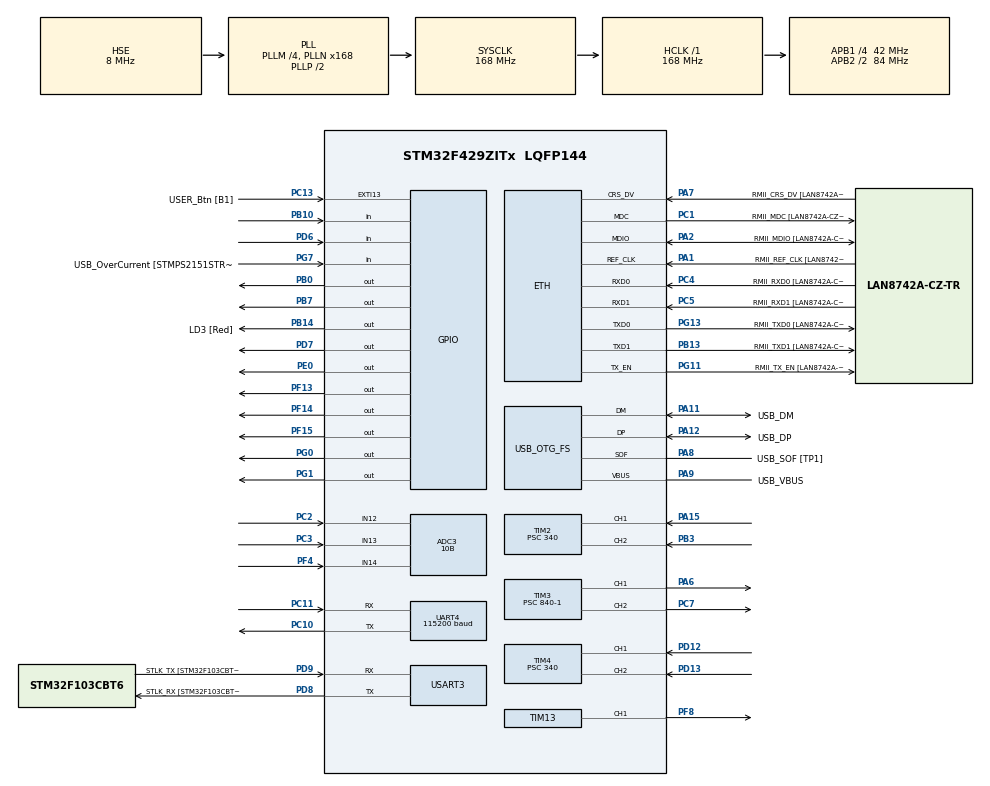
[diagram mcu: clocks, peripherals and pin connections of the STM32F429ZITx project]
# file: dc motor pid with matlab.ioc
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ADC3.Channel-3\#ChannelRegularConversion=ADC_CHANNEL_12
ADC3.Channel-4\#ChannelRegularConversion=ADC_CHANNEL_13
ADC3.Channel-5\#ChannelRegularConversion=ADC_CHANNEL_14
ADC3.ContinuousConvMode=DISABLE
ADC3.DMAContinuousRequests=ENABLE
ADC3.ExternalTrigConv=ADC_EXTERNALTRIGCONV_T8_TRGO
ADC3.NbrOfConversion=3
ADC3.NbrOfConversionFlag=1
ADC3.Rank-3\#ChannelRegularConversion=1
ADC3.Rank-4\#ChannelRegularConversion=2
ADC3.Rank-5\#ChannelRegularConversion=3
ADC3.Resolution=ADC_RESOLUTION_10B
ADC3.SamplingTime-3\#ChannelRegularConversion=ADC_SAMPLETIME_480CYCLES
ADC3.SamplingTime-4\#ChannelRegularConversion=ADC_SAMPLETIME_480CYCLES
ADC3.SamplingTime-5\#ChannelRegularConversion=ADC_SAMPLETIME_480CYCLES
ADC3.ScanConvMode=ENABLE
Dma.ADC3.1.Direction=DMA_PERIPH_TO_MEMORY
Dma.ADC3.1.FIFOMode=DMA_FIFOMODE_DISABLE
Dma.ADC3.1.Instance=DMA2_Stream1
Dma.ADC3.1.MemDataAlignment=DMA_MDATAALIGN_HALFWORD
Dma.ADC3.1.MemInc=DMA_MINC_ENABLE
Dma.ADC3.1.Mode=DMA_CIRCULAR
Dma.ADC3.1.PeriphDataAlignment=DMA_PDATAALIGN_HALFWORD
Dma.ADC3.1.PeriphInc=DMA_PINC_DISABLE
Dma.ADC3.1.Priority=DMA_PRIORITY_LOW
Dma.Request0=TIM4_UP
Dma.Request1=ADC3
Dma.TIM4_UP.0.Direction=DMA_PERIPH_TO_MEMORY
Dma.TIM4_UP.0.FIFOMode=DMA_FIFOMODE_DISABLE
Dma.TIM4_UP.0.Instance=DMA1_Stream6
Dma.TIM4_UP.0.MemDataAlignment=DMA_MDATAALIGN_HALFWORD
Dma.TIM4_UP.0.MemInc=DMA_MINC_ENABLE
Dma.TIM4_UP.0.Mode=DMA_NORMAL
Dma.TIM4_UP.0.PeriphDataAlignment=DMA_PDATAALIGN_HALFWORD
Dma.TIM4_UP.0.PeriphInc=DMA_PINC_DISABLE
Dma.TIM4_UP.0.Priority=DMA_PRIORITY_LOW
ETH.MediaInterface=HAL_ETH_RMII_MODE
ETH.PHY_Name=LAN8742A_PHY_ADDRESS
ETH.PHY_Value=0
ETH.PhyAddress=0
Mcu.Family=STM32F4
Mcu.Name=STM32F429ZITx
Mcu.Package=LQFP144
NVIC.ADC_IRQn=true\:0\:0\:false\:false\:true\:true\:true\:true
NVIC.DMA1_Stream6_IRQn=true\:0\:0\:false\:false\:true\:false\:true\:true
NVIC.DMA2_Stream1_IRQn=true\:0\:0\:false\:false\:true\:false\:true\:true
NVIC.PriorityGroup=NVIC_PRIORITYGROUP_4
NVIC.TIM3_IRQn=true\:0\:0\:false\:false\:true\:true\:true\:true
NVIC.TIM6_DAC_IRQn=true\:6\:0\:true\:false\:true\:true\:true\:true
NVIC.TIM7_IRQn=true\:0\:0\:false\:false\:true\:true\:true\:true
NVIC.TIM8_BRK_TIM12_IRQn=true\:0\:0\:false\:false\:true\:true\:true\:true
NVIC.TIM8_TRG_COM_TIM14_IRQn=true\:0\:0\:false\:false\:true\:true\:true\:true
NVIC.TIM8_UP_TIM13_IRQn=true\:0\:0\:false\:false\:true\:true\:true\:true
NVIC.UART4_IRQn=true\:0\:0\:false\:false\:true\:true\:true\:true
NVIC.USART3_IRQn=true\:0\:0\:false\:false\:true\:true\:true\:true
PA1.GPIO_Label=RMII_REF_CLK [LAN8742A-CZ-TR_REFCLK0]
PA1.Mode=RMII
PA1.Signal=ETH_REF_CLK
PA10.GPIO_Label=USB_ID
PA10.Signal=USB_OTG_FS_ID
PA11.GPIO_Label=USB_DM
PA11.Mode=Device_Only
PA11.Signal=USB_OTG_FS_DM
PA12.GPIO_Label=USB_DP
PA12.Mode=Device_Only
PA12.Signal=USB_OTG_FS_DP
PA13.GPIO_Label=TMS
PA13.Mode=Serial_Wire
PA13.Signal=SYS_JTMS-SWDIO
PA14.GPIO_Label=TCK
PA14.Mode=Serial_Wire
PA14.Signal=SYS_JTCK-SWCLK
PA15.Signal=S_TIM2_CH1_ETR
PA2.GPIO_Label=RMII_MDIO [LAN8742A-CZ-TR_MDIO]
PA2.Mode=RMII
PA2.Signal=ETH_MDIO
PA6.Signal=S_TIM3_CH1
PA7.GPIO_Label=RMII_CRS_DV [LAN8742A-CZ-TR_CRS_DV]
PA7.Mode=RMII
PA7.Signal=ETH_CRS_DV
PA8.GPIO_Label=USB_SOF [TP1]
PA8.Mode=Activate_SOF_FS
PA8.Signal=USB_OTG_FS_SOF
PA9.GPIO_Label=USB_VBUS
PA9.Mode=Activate_VBUS
PA9.Signal=USB_OTG_FS_VBUS
PB0.Signal=GPIO_Output
PB10.Signal=GPIO_Input
PB13.GPIO_Label=RMII_TXD1 [LAN8742A-CZ-TR_TXD1]
PB13.Mode=RMII
PB13.Signal=ETH_TXD1
PB14.GPIO_Label=LD3 [Red]
PB14.Signal=GPIO_Output
PB3.Signal=S_TIM2_CH2
PB7.Signal=GPIO_Output
PC1.GPIO_Label=RMII_MDC [LAN8742A-CZ-TR_MDC]
PC1.Mode=RMII
PC1.Signal=ETH_MDC
PC10.Mode=Asynchronous
PC10.Signal=UART4_TX
PC11.Mode=Asynchronous
PC11.Signal=UART4_RX
PC13.GPIO_Label=USER_Btn [B1]
PC13.Signal=GPXTI13
PC14/OSC32_IN.Mode=LSE-External-Oscillator
PC14/OSC32_IN.Signal=RCC_OSC32_IN
PC15/OSC32_OUT.Mode=LSE-External-Oscillator
PC15/OSC32_OUT.Signal=RCC_OSC32_OUT
PC2.Signal=ADCx_IN12
PC3.Signal=ADCx_IN13
PC4.GPIO_Label=RMII_RXD0 [LAN8742A-CZ-TR_RXD0]
PC4.Mode=RMII
PC4.Signal=ETH_RXD0
PC5.GPIO_Label=RMII_RXD1 [LAN8742A-CZ-TR_RXD1]
PC5.Mode=RMII
PC5.Signal=ETH_RXD1
PC7.Signal=S_TIM3_CH2
PD12.Signal=S_TIM4_CH1
PD13.Signal=S_TIM4_CH2
PD6.Signal=GPIO_Input
PD7.Signal=GPIO_Output
PD8.GPIO_Label=STLK_RX [STM32F103CBT6_PA3]
PD8.Mode=Asynchronous
PD8.Signal=USART3_TX
PD9.GPIO_Label=STLK_TX [STM32F103CBT6_PA2]
PD9.Mode=Asynchronous
PD9.Signal=USART3_RX
PE0.Signal=GPIO_Output
PF13.Signal=GPIO_Output
PF14.Signal=GPIO_Output
PF15.Signal=GPIO_Output
PF4.Mode=IN14
PF4.Signal=ADC3_IN14
PF8.Signal=S_TIM13_CH1
PG0.Signal=GPIO_Output
PG1.Signal=GPIO_Output
PG11.GPIO_Label=RMII_TX_EN [LAN8742A-CZ-TR_TXEN]
PG11.Mode=RMII
PG11.Signal=ETH_TX_EN
PG13.GPIO_Label=RMII_TXD0 [LAN8742A-CZ-TR_TXD0]
PG13.Mode=RMII
PG13.Signal=ETH_TXD0
PG7.GPIO_Label=USB_OverCurrent [STMPS2151STR_FAULT]
PG7.Signal=GPIO_Input
PH0/OSC_IN.GPIO_Label=MCO [STM32F103CBT6_PA8]
PH0/OSC_IN.Mode=HSE-External-Clock-Source
PH0/OSC_IN.Signal=RCC_OSC_IN
PH1/OSC_OUT.Mode=HSE-External-Clock-Source
PH1/OSC_OUT.Signal=RCC_OSC_OUT
ProjectManager.HeapSize=0x200
ProjectManager.StackSize=0x400
ProjectManager.TargetToolchain=STM32CubeIDE
RCC.48MHZClocksFreq_Value=48000000
RCC.AHBFreq_Value=168000000
RCC.APB1CLKDivider=RCC_HCLK_DIV4
RCC.APB1Freq_Value=42000000
RCC.APB1TimFreq_Value=84000000
RCC.APB2CLKDivider=RCC_HCLK_DIV2
RCC.APB2Freq_Value=84000000
RCC.APB2TimCLKDivider=2
RCC.APB2TimFreq_Value=168000000
RCC.CortexFreq_Value=168000000
RCC.HCLKFreq_Value=168000000
RCC.HSE_VALUE=8000000
RCC.HSI_VALUE=16000000
RCC.PLLM=4
RCC.PLLMUL=RCC_PLL_MUL9
RCC.PLLN=168
RCC.PLLQ=7
RCC.PRESCALERUSB=RCC_USBCLKSOURCE_PLL_DIV1_5
RCC.SYSCLKFreq_VALUE=168000000
RCC.SYSCLKSource=RCC_SYSCLKSOURCE_PLLCLK
RCC.SYSCLKSourceVirtual=RCC_SYSCLKSOURCE_PLLCLK
RCC.USBFreq_Value=48000000
RCC.VCOOutputFreq_Value=336000000
SH.ADCx_IN12.0=ADC3_IN12,IN12
SH.ADCx_IN13.0=ADC3_IN13,IN13
SH.S_TIM13_CH1.0=TIM13_CH1,PWM Generation1 CH1
SH.S_TIM2_CH1_ETR.0=TIM2_CH1,Encoder_Interface
SH.S_TIM2_CH2.0=TIM2_CH2,Encoder_Interface
SH.S_TIM3_CH1.0=TIM3_CH1,PWM Generation1 CH1
SH.S_TIM3_CH2.0=TIM3_CH2,PWM Generation2 CH2
SH.S_TIM4_CH1.0=TIM4_CH1,Encoder_Interface
SH.S_TIM4_CH2.0=TIM4_CH2,Encoder_Interface
TIM1.Prescaler=84-1
TIM12.Prescaler=42-1
TIM13.Channel=TIM_CHANNEL_1
TIM13.Period=100
TIM13.Prescaler=84
TIM13.Pulse=50
TIM14.Period=10000-1
TIM14.Prescaler=840-1
TIM2.EncoderMode=TIM_ENCODERMODE_TI12
TIM2.Period=65000
TIM2.Prescaler=340
TIM3.Channel-PWM\ Generation1\ CH1=TIM_CHANNEL_1
TIM3.Channel-PWM\ Generation2\ CH2=TIM_CHANNEL_2
TIM3.OC1Preload_PWM=DISABLE
TIM3.OC2Preload_PWM=DISABLE
TIM3.Period=1000-1
TIM3.Prescaler=840-1
TIM3.Pulse-PWM\ Generation1\ CH1=100
TIM3.Pulse-PWM\ Generation2\ CH2=100
TIM4.EncoderMode=TIM_ENCODERMODE_TI12
TIM4.Period=65000
TIM4.Prescaler=340
TIM6.Period=100-1
TIM6.Prescaler=84-1
TIM7.Period=1000-1
TIM7.Prescaler=84-1
TIM8.Channel-Output\ Compare4\ No\ Output=TIM_CHANNEL_4
TIM8.Period=50-1
TIM8.Prescaler=840-1
TIM8.Pulse-Output\ Compare4\ No\ Output=2000
TIM8.TIM_MasterOutputTrigger=TIM_TRGO_UPDATE
UART4.BaudRate=115200
UART4.Parity=PARITY_EVEN
UART4.VirtualMode=Asynchronous
USART3.VirtualMode=VM_ASYNC
USB_OTG_FS.VirtualMode=Device_Only
VP_TIM12_VS_ClockSourceINT.Mode=Internal
VP_TIM13_VS_ClockSourceINT.Mode=Enable_Timer
VP_TIM14_VS_ClockSourceINT.Mode=Enable_Timer
VP_TIM1_VS_ClockSourceINT.Mode=Internal
VP_TIM3_VS_ClockSourceINT.Mode=Internal
VP_TIM6_VS_ClockSourceINT.Mode=Enable_Timer
VP_TIM7_VS_ClockSourceINT.Mode=Enable_Timer
VP_TIM8_VS_ClockSourceINT.Mode=Internal
VP_TIM8_VS_no_output4.Mode=Output Compare4 No Output
board=NUCLEO-F429ZI

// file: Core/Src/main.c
/* USER CODE BEGIN Header */
/**
  ******************************************************************************
  * @file           : main.c
  * @brief          : Main program body
  ******************************************************************************
  * @attention
  *
  * Copyright (c) 2024 STMicroelectronics.
  * All rights reserved.
  *
  * This software is licensed under terms that can be found in the LICENSE file
  * in the root directory of this software component.
  * If no LICENSE file comes with this software, it is provided AS-IS.
  *
  ******************************************************************************
  */
/* USER CODE END Header */
#include "main.h"
#include "string.h"

/* USER CODE BEGIN Includes */
#include "sensor.h"
#include "com.h"
#include "pid.h"
#include <stdio.h>
//ㅇㅇ

int counterrr=0;

extern uint16_t input_position;
extern float Distance;
extern int position_start;

extern float battery_V;

uint8_t buffer[256];

uint8_t key_value;
UART_HandleTypeDef huart3;
uint8_t data;
UART_HandleTypeDef huart4;

uint32_t encoder_count=10000;
char uart_buf[30];

int8_t RX_flag=0;

uint32_t ENCODER_NEW, ENCODER_OLD;
float RPM;
float RPS;
uint16_t RPM_uint16;
uint16_t battery_uint16;
uint16_t ADC1_value[2];
uint16_t ADC1_0;
uint16_t ADC1_1;

uint8_t ENC[4];

uint16_t ADC3_value[3];

float Omega;

float x=0;
double duty=0;

extern int tim7_flag;
extern uint8_t time_1s;
extern float set_position;

extern uint8_t stop_flag;
extern int tim14_flag;
extern int tim6_flag;
extern int tim13_flag;
  int count=0;
float f = 1.234;

extern int step_enable;
extern uint8_t rev10_flag;
extern uint8_t rev1_flag;

uint16_t step_count;

/* USER CODE END Includes */

ETH_TxPacketConfig TxConfig;
ETH_DMADescTypeDef  DMARxDscrTab[ETH_RX_DESC_CNT]; /* Ethernet Rx DMA Descriptors */
ETH_DMADescTypeDef  DMATxDscrTab[ETH_TX_DESC_CNT]; /* Ethernet Tx DMA Descriptors */

ADC_HandleTypeDef hadc3;
DMA_HandleTypeDef hdma_adc3;

ETH_HandleTypeDef heth;

TIM_HandleTypeDef htim1;
TIM_HandleTypeDef htim2;
TIM_HandleTypeDef htim3;
TIM_HandleTypeDef htim4;
TIM_HandleTypeDef htim6;
TIM_HandleTypeDef htim7;
TIM_HandleTypeDef htim8;
TIM_HandleTypeDef htim12;
TIM_HandleTypeDef htim13;
TIM_HandleTypeDef htim14;
DMA_HandleTypeDef hdma_tim4_up;

UART_HandleTypeDef huart4;
UART_HandleTypeDef huart3;

PCD_HandleTypeDef hpcd_USB_OTG_FS;

void SystemClock_Config(void);
static void MX_GPIO_Init(void);
static void MX_DMA_Init(void);
static void MX_ETH_Init(void);
static void MX_USART3_UART_Init(void);
static void MX_USB_OTG_FS_PCD_Init(void);
static void MX_TIM3_Init(void);
static void MX_TIM14_Init(void);
static void MX_TIM4_Init(void);
static void MX_UART4_Init(void);
static void MX_TIM2_Init(void);
static void MX_TIM8_Init(void);
static void MX_TIM6_Init(void);
static void MX_TIM13_Init(void);
static void MX_TIM1_Init(void);
static void MX_ADC3_Init(void);
static void MX_TIM7_Init(void);
static void MX_TIM12_Init(void);

/* USER CODE BEGIN 0 */

uint16_t delay_us =600;

/* USER CODE END 0 */

int main(void)
{

  /* MCU Configuration--------------------------------------------------------*/

  /* Reset of all peripherals, Initializes the Flash interface and the Systick. */
  HAL_Init();

  /* Configure the system clock */
  SystemClock_Config();

  /* Initialize all configured peripherals */
  MX_GPIO_Init();
  MX_DMA_Init();
  MX_ETH_Init();
  MX_USART3_UART_Init();
  MX_USB_OTG_FS_PCD_Init();
  MX_TIM3_Init();
  MX_TIM14_Init();
  MX_TIM4_Init();
  MX_UART4_Init();
  MX_TIM2_Init();
  MX_TIM8_Init();
  MX_TIM6_Init();
  MX_TIM13_Init();
  MX_TIM1_Init();
  MX_ADC3_Init();
  MX_TIM7_Init();
  MX_TIM12_Init();
  /* USER CODE BEGIN 2 */

  HAL_UART_Receive_IT(&huart3, &key_value, 1);
  HAL_UART_Receive_IT(&huart4, &data, 1);

  HAL_ADC_Start_DMA(&hadc3, (uint32_t*)ADC3_value, 3);

   HAL_TIM_Base_Start_IT(&htim6);
   HAL_TIM_Base_Start_IT(&htim7);

   HAL_TIM_Base_Start(&htim1);
   HAL_TIM_Base_Start_IT(&htim12);
   setvbuf(stdin, NULL, _IONBF, 0);
  /* USER CODE END 2 */

  /* Infinite loop */
  while (1)
  {

    /* USER CODE BEGIN 3 */
	  encoder_count=TIM4->CNT;

	  if(step_enable==1)
	  {
		 // step_motor();

		   for(step_count=0; step_count<40000; step_count++) //40000은 별 의미 없음
	     {
	     HAL_GPIO_WritePin(GPIOF,  GPIO_PIN_15, 0);  //펄스
	     microDelay(delay_us);
	     HAL_GPIO_WritePin(GPIOF,  GPIO_PIN_15, 1);
	     microDelay(delay_us);
	     if(step_count==200*10 && rev10_flag==1)  //10회전 정지
	     {
	    	 HAL_GPIO_WritePin(GPIOF,  GPIO_PIN_13, 1);  //정지
	    	 rev10_flag=0;
	     }
	     else if(step_count==200*1 && rev1_flag==1) //1회전 정지
	     {
	      	 HAL_GPIO_WritePin(GPIOF,  GPIO_PIN_13, 1);  //정지
	      	 rev1_flag=0;
	     }

	    }
	  }

	  if(tim6_flag==1)
	  {
		  distance_sensor();  //거리 센서

	       tim6_flag=0;
	  }
	  if(tim14_flag==20) //2초
	  {
		  //  RPM_uint16=RPM*100;    // float를 uint로 변경
		  RPM_uint16=ADC3_value[0]*10;  //나중에 rpm으로 변경
		  battery_uint16 = battery_V*100;

	/*	    ENC[3]=RPM_uint16 / 1000;		// 10000 ?���???????????????????????????????????????
    	    ENC[2]=RPM_uint16 % 1000/100;	// 1000 ?���???????????????????????????????????????
			ENC[1]= RPM_uint16 % 100/10;	// 100 ?���???????????????????????????????????????
		 	ENC[0]=RPM_uint16 % 10/1;		// 10 ?���???????????????????????????????????????
*/
		   	SerialSendChar_WIFI('?');

/*
	 sprintf((char *)buffer, "%d \r\n",battery_uint16);
  	HAL_UART_Transmit(&huart3, buffer, strlen((char *)buffer), 100);

  	 sprintf((char *)buffer, "%d \r\n",RPM_uint16);
  	HAL_UART_Transmit(&huart3, buffer, strlen((char *)buffer), 100);
*/

//배터리, 속도 전송
	  sprintf((char *)buffer, "%d",battery_uint16);
	HAL_UART_Transmit(&huart4, buffer, strlen((char *)buffer), 100);
  	sprintf((char *)buffer, "%d",RPM_uint16);
  	HAL_UART_Transmit(&huart4, buffer, strlen((char *)buffer), 100);
  	  sprintf((char *)buffer, "%d",battery_uint16);
  	HAL_UART_Transmit(&huart4, buffer, strlen((char *)buffer), 100);

	 	 //  	  HAL_Delay(2000);

		  tim14_flag=0;
	  }
	  if(tim7_flag==1)
	  {
		  if(position_start==1)
		  	{
			  position_pid();

			  tim7_flag=0;
		    }
	  }

	  if(RX_flag==1)
	  {
		 // RX_flag=0;
		//  TIM4->CNT=0;
	  	 		TIM3->CCR1 = 1000;
	  	 		TIM3->CCR2 = 1000;
	  	 			if(encoder_count>=1200)
	  		 		{
	  	 				TIM3->CCR1 = 50;

	  	 				GPIOG->ODR |= 1<<0;
	  	 				HAL_Delay(100);
	  	 				GPIOG->ODR &= ~1<<0;
	  	 				TIM3->CCR1 = 50;
	  	 				if(encoder_count>=512*3)
	  	 				{
	  	 					TIM3->CCR1 = 0;
	  	 					RX_flag=0;
	  	 				}

	  	 	     	}

	  }

	//  printf("%d %d \n\r",encoder_count,input_position );

//	  HAL_Delay(1);

  }
  /* USER CODE END 3 */
}

void SystemClock_Config(void)
{
  RCC_OscInitTypeDef RCC_OscInitStruct = {0};
  RCC_ClkInitTypeDef RCC_ClkInitStruct = {0};

  /** Configure the main internal regulator output voltage
  */
  __HAL_RCC_PWR_CLK_ENABLE();
  __HAL_PWR_VOLTAGESCALING_CONFIG(PWR_REGULATOR_VOLTAGE_SCALE1);

  /** Initializes the RCC Oscillators according to the specified parameters
  * in the RCC_OscInitTypeDef structure.
  */
  RCC_OscInitStruct.OscillatorType = RCC_OSCILLATORTYPE_HSE;
  RCC_OscInitStruct.HSEState = RCC_HSE_BYPASS;
  RCC_OscInitStruct.PLL.PLLState = RCC_PLL_ON;
  RCC_OscInitStruct.PLL.PLLSource = RCC_PLLSOURCE_HSE;
  RCC_OscInitStruct.PLL.PLLM = 4;
  RCC_OscInitStruct.PLL.PLLN = 168;
  RCC_OscInitStruct.PLL.PLLP = RCC_PLLP_DIV2;
  RCC_OscInitStruct.PLL.PLLQ = 7;
  if (HAL_RCC_OscConfig(&RCC_OscInitStruct) != HAL_OK)
  {
    Error_Handler();
  }

  /** Initializes the CPU, AHB and APB buses clocks
  */
  RCC_ClkInitStruct.ClockType = RCC_CLOCKTYPE_HCLK|RCC_CLOCKTYPE_SYSCLK
                              |RCC_CLOCKTYPE_PCLK1|RCC_CLOCKTYPE_PCLK2;
  RCC_ClkInitStruct.SYSCLKSource = RCC_SYSCLKSOURCE_PLLCLK;
  RCC_ClkInitStruct.AHBCLKDivider = RCC_SYSCLK_DIV1;
  RCC_ClkInitStruct.APB1CLKDivider = RCC_HCLK_DIV4;
  RCC_ClkInitStruct.APB2CLKDivider = RCC_HCLK_DIV2;

  if (HAL_RCC_ClockConfig(&RCC_ClkInitStruct, FLASH_LATENCY_5) != HAL_OK)
  {
    Error_Handler();
  }
}

static void MX_ADC3_Init(void)
{

  ADC_ChannelConfTypeDef sConfig = {0};

  /** Configure the global features of the ADC (Clock, Resolution, Data Alignment and number of conversion)
  */
  hadc3.Instance = ADC3;
  hadc3.Init.ClockPrescaler = ADC_CLOCK_SYNC_PCLK_DIV4;
  hadc3.Init.Resolution = ADC_RESOLUTION_10B;
  hadc3.Init.ScanConvMode = ENABLE;
  hadc3.Init.ContinuousConvMode = DISABLE;
  hadc3.Init.DiscontinuousConvMode = DISABLE;
  hadc3.Init.ExternalTrigConvEdge = ADC_EXTERNALTRIGCONVEDGE_RISING;
  hadc3.Init.ExternalTrigConv = ADC_EXTERNALTRIGCONV_T8_TRGO;
  hadc3.Init.DataAlign = ADC_DATAALIGN_RIGHT;
  hadc3.Init.NbrOfConversion = 3;
  hadc3.Init.DMAContinuousRequests = ENABLE;
  hadc3.Init.EOCSelection = ADC_EOC_SINGLE_CONV;
  if (HAL_ADC_Init(&hadc3) != HAL_OK)
  {
    Error_Handler();
  }

  /** Configure for the selected ADC regular channel its corresponding rank in the sequencer and its sample time.
  */
  sConfig.Channel = ADC_CHANNEL_12;
  sConfig.Rank = 1;
  sConfig.SamplingTime = ADC_SAMPLETIME_480CYCLES;
  if (HAL_ADC_ConfigChannel(&hadc3, &sConfig) != HAL_OK)
  {
    Error_Handler();
  }

  /** Configure for the selected ADC regular channel its corresponding rank in the sequencer and its sample time.
  */
  sConfig.Channel = ADC_CHANNEL_13;
  sConfig.Rank = 2;
  if (HAL_ADC_ConfigChannel(&hadc3, &sConfig) != HAL_OK)
  {
    Error_Handler();
  }

  /** Configure for the selected ADC regular channel its corresponding rank in the sequencer and its sample time.
  */
  sConfig.Channel = ADC_CHANNEL_14;
  sConfig.Rank = 3;
  if (HAL_ADC_ConfigChannel(&hadc3, &sConfig) != HAL_OK)
  {
    Error_Handler();
  }

}

static void MX_ETH_Init(void)
{

   static uint8_t MACAddr[6];

  heth.Instance = ETH;
  MACAddr[0] = 0x00;
  MACAddr[1] = 0x80;
  MACAddr[2] = 0xE1;
  MACAddr[3] = 0x00;
  MACAddr[4] = 0x00;
  MACAddr[5] = 0x00;
  heth.Init.MACAddr = &MACAddr[0];
  heth.Init.MediaInterface = HAL_ETH_RMII_MODE;
  heth.Init.TxDesc = DMATxDscrTab;
  heth.Init.RxDesc = DMARxDscrTab;
  heth.Init.RxBuffLen = 1524;

  if (HAL_ETH_Init(&heth) != HAL_OK)
  {
    Error_Handler();
  }

  memset(&TxConfig, 0 , sizeof(ETH_TxPacketConfig));
  TxConfig.Attributes = ETH_TX_PACKETS_FEATURES_CSUM | ETH_TX_PACKETS_FEATURES_CRCPAD;
  TxConfig.ChecksumCtrl = ETH_CHECKSUM_IPHDR_PAYLOAD_INSERT_PHDR_CALC;
  TxConfig.CRCPadCtrl = ETH_CRC_PAD_INSERT;

}

static void MX_TIM1_Init(void)
{

  TIM_ClockConfigTypeDef sClockSourceConfig = {0};
  TIM_MasterConfigTypeDef sMasterConfig = {0};

  htim1.Instance = TIM1;
  htim1.Init.Prescaler = 84-1;
  htim1.Init.CounterMode = TIM_COUNTERMODE_UP;
  htim1.Init.Period = 65535;
  htim1.Init.ClockDivision = TIM_CLOCKDIVISION_DIV1;
  htim1.Init.RepetitionCounter = 0;
  htim1.Init.AutoReloadPreload = TIM_AUTORELOAD_PRELOAD_DISABLE;
  if (HAL_TIM_Base_Init(&htim1) != HAL_OK)
  {
    Error_Handler();
  }
  sClockSourceConfig.ClockSource = TIM_CLOCKSOURCE_INTERNAL;
  if (HAL_TIM_ConfigClockSource(&htim1, &sClockSourceConfig) != HAL_OK)
  {
    Error_Handler();
  }
  sMasterConfig.MasterOutputTrigger = TIM_TRGO_RESET;
  sMasterConfig.MasterSlaveMode = TIM_MASTERSLAVEMODE_DISABLE;
  if (HAL_TIMEx_MasterConfigSynchronization(&htim1, &sMasterConfig) != HAL_OK)
  {
    Error_Handler();
  }

}

static void MX_TIM2_Init(void)
{

  TIM_Encoder_InitTypeDef sConfig = {0};
  TIM_MasterConfigTypeDef sMasterConfig = {0};

  htim2.Instance = TIM2;
  htim2.Init.Prescaler = 340;
  htim2.Init.CounterMode = TIM_COUNTERMODE_UP;
  htim2.Init.Period = 65000;
  htim2.Init.ClockDivision = TIM_CLOCKDIVISION_DIV1;
  htim2.Init.AutoReloadPreload = TIM_AUTORELOAD_PRELOAD_DISABLE;
  sConfig.EncoderMode = TIM_ENCODERMODE_TI12;
  sConfig.IC1Polarity = TIM_ICPOLARITY_RISING;
  sConfig.IC1Selection = TIM_ICSELECTION_DIRECTTI;
  sConfig.IC1Prescaler = TIM_ICPSC_DIV1;
  sConfig.IC1Filter = 0;
  sConfig.IC2Polarity = TIM_ICPOLARITY_RISING;
  sConfig.IC2Selection = TIM_ICSELECTION_DIRECTTI;
  sConfig.IC2Prescaler = TIM_ICPSC_DIV1;
  sConfig.IC2Filter = 0;
  if (HAL_TIM_Encoder_Init(&htim2, &sConfig) != HAL_OK)
  {
    Error_Handler();
  }
  sMasterConfig.MasterOutputTrigger = TIM_TRGO_RESET;
  sMasterConfig.MasterSlaveMode = TIM_MASTERSLAVEMODE_DISABLE;
  if (HAL_TIMEx_MasterConfigSynchronization(&htim2, &sMasterConfig) != HAL_OK)
  {
    Error_Handler();
  }
  /* USER CODE BEGIN TIM2_Init 2 */
  HAL_TIM_Encoder_Start(&htim2, TIM_CHANNEL_ALL);
  /* USER CODE END TIM2_Init 2 */

}

static void MX_TIM3_Init(void)
{

  TIM_ClockConfigTypeDef sClockSourceConfig = {0};
  TIM_MasterConfigTypeDef sMasterConfig = {0};
  TIM_OC_InitTypeDef sConfigOC = {0};

  htim3.Instance = TIM3;
  htim3.Init.Prescaler = 840-1;
  htim3.Init.CounterMode = TIM_COUNTERMODE_UP;
  htim3.Init.Period = 1000-1;
  htim3.Init.ClockDivision = TIM_CLOCKDIVISION_DIV1;
  htim3.Init.AutoReloadPreload = TIM_AUTORELOAD_PRELOAD_DISABLE;
  if (HAL_TIM_Base_Init(&htim3) != HAL_OK)
  {
    Error_Handler();
  }
  sClockSourceConfig.ClockSource = TIM_CLOCKSOURCE_INTERNAL;
  if (HAL_TIM_ConfigClockSource(&htim3, &sClockSourceConfig) != HAL_OK)
  {
    Error_Handler();
  }
  if (HAL_TIM_PWM_Init(&htim3) != HAL_OK)
  {
    Error_Handler();
  }
  sMasterConfig.MasterOutputTrigger = TIM_TRGO_RESET;
  sMasterConfig.MasterSlaveMode = TIM_MASTERSLAVEMODE_DISABLE;
  if (HAL_TIMEx_MasterConfigSynchronization(&htim3, &sMasterConfig) != HAL_OK)
  {
    Error_Handler();
  }
  sConfigOC.OCMode = TIM_OCMODE_PWM1;
  sConfigOC.Pulse = 100;
  sConfigOC.OCPolarity = TIM_OCPOLARITY_HIGH;
  sConfigOC.OCFastMode = TIM_OCFAST_DISABLE;
  if (HAL_TIM_PWM_ConfigChannel(&htim3, &sConfigOC, TIM_CHANNEL_1) != HAL_OK)
  {
    Error_Handler();
  }
  __HAL_TIM_DISABLE_OCxPRELOAD(&htim3, TIM_CHANNEL_1);
  if (HAL_TIM_PWM_ConfigChannel(&htim3, &sConfigOC, TIM_CHANNEL_2) != HAL_OK)
  {
    Error_Handler();
  }
  __HAL_TIM_DISABLE_OCxPRELOAD(&htim3, TIM_CHANNEL_2);
  /* USER CODE BEGIN TIM3_Init 2 */
  TIM3->DIER |= (1<<1);   // CC1IE: Enable the Tim3 CC1 interrupt
   NVIC->ISER[0] |= (1<<29); // TIM3_CC
   TIM3->CCER	|= (1<<0);	// CC1E=1: OC1(TIM5_CH1) Active(Capture/Compare 1 output enable)
    					// ?��?��??(40�??????????????????????????????????????????)?�� ?��?�� ?��?��출력
   TIM3->CR1	|= (1<<0);	// CEN: Counter TIM3 enable

  HAL_TIM_PWM_Start_IT(&htim3, TIM_CHANNEL_1);

  /* USER CODE END TIM3_Init 2 */
  HAL_TIM_MspPostInit(&htim3);

}

static void MX_TIM4_Init(void)
{

  TIM_Encoder_InitTypeDef sConfig = {0};
  TIM_MasterConfigTypeDef sMasterConfig = {0};

  htim4.Instance = TIM4;
  htim4.Init.Prescaler = 340;
  htim4.Init.CounterMode = TIM_COUNTERMODE_UP;
  htim4.Init.Period = 65000;
  htim4.Init.ClockDivision = TIM_CLOCKDIVISION_DIV1;
  htim4.Init.AutoReloadPreload = TIM_AUTORELOAD_PRELOAD_DISABLE;
  sConfig.EncoderMode = TIM_ENCODERMODE_TI12;
  sConfig.IC1Polarity = TIM_ICPOLARITY_RISING;
  sConfig.IC1Selection = TIM_ICSELECTION_DIRECTTI;
  sConfig.IC1Prescaler = TIM_ICPSC_DIV1;
  sConfig.IC1Filter = 0;
  sConfig.IC2Polarity = TIM_ICPOLARITY_RISING;
  sConfig.IC2Selection = TIM_ICSELECTION_DIRECTTI;
  sConfig.IC2Prescaler = TIM_ICPSC_DIV1;
  sConfig.IC2Filter = 0;
  if (HAL_TIM_Encoder_Init(&htim4, &sConfig) != HAL_OK)
  {
    Error_Handler();
  }
  sMasterConfig.MasterOutputTrigger = TIM_TRGO_RESET;
  sMasterConfig.MasterSlaveMode = TIM_MASTERSLAVEMODE_DISABLE;
  if (HAL_TIMEx_MasterConfigSynchronization(&htim4, &sMasterConfig) != HAL_OK)
  {
    Error_Handler();
  }
  /* USER CODE BEGIN TIM4_Init 2 */
  HAL_TIM_Encoder_Start(&htim4, TIM_CHANNEL_ALL);
  /* USER CODE END TIM4_Init 2 */

}

static void MX_TIM6_Init(void)
{

  TIM_MasterConfigTypeDef sMasterConfig = {0};

  htim6.Instance = TIM6;
  htim6.Init.Prescaler = 84-1;
  htim6.Init.CounterMode = TIM_COUNTERMODE_UP;
  htim6.Init.Period = 100-1;
  htim6.Init.AutoReloadPreload = TIM_AUTORELOAD_PRELOAD_DISABLE;
  if (HAL_TIM_Base_Init(&htim6) != HAL_OK)
  {
    Error_Handler();
  }
  sMasterConfig.MasterOutputTrigger = TIM_TRGO_RESET;
  sMasterConfig.MasterSlaveMode = TIM_MASTERSLAVEMODE_DISABLE;
  if (HAL_TIMEx_MasterConfigSynchronization(&htim6, &sMasterConfig) != HAL_OK)
  {
    Error_Handler();
  }
  /* USER CODE BEGIN TIM6_Init 2 */
  HAL_TIM_Base_Start_IT(&htim6);
  /* USER CODE END TIM6_Init 2 */

}

static void MX_TIM7_Init(void)
{

  TIM_MasterConfigTypeDef sMasterConfig = {0};

  htim7.Instance = TIM7;
  htim7.Init.Prescaler = 84-1;
  htim7.Init.CounterMode = TIM_COUNTERMODE_UP;
  htim7.Init.Period = 1000-1;
  htim7.Init.AutoReloadPreload = TIM_AUTORELOAD_PRELOAD_DISABLE;
  if (HAL_TIM_Base_Init(&htim7) != HAL_OK)
  {
    Error_Handler();
  }
  sMasterConfig.MasterOutputTrigger = TIM_TRGO_RESET;
  sMasterConfig.MasterSlaveMode = TIM_MASTERSLAVEMODE_DISABLE;
  if (HAL_TIMEx_MasterConfigSynchronization(&htim7, &sMasterConfig) != HAL_OK)
  {
    Error_Handler();
  }

}

static void MX_TIM8_Init(void)
{

  TIM_ClockConfigTypeDef sClockSourceConfig = {0};
  TIM_MasterConfigTypeDef sMasterConfig = {0};
  TIM_OC_InitTypeDef sConfigOC = {0};
  TIM_BreakDeadTimeConfigTypeDef sBreakDeadTimeConfig = {0};

  htim8.Instance = TIM8;
  htim8.Init.Prescaler = 840-1;
  htim8.Init.CounterMode = TIM_COUNTERMODE_UP;
  htim8.Init.Period = 50-1;
  htim8.Init.ClockDivision = TIM_CLOCKDIVISION_DIV1;
  htim8.Init.RepetitionCounter = 0;
  htim8.Init.AutoReloadPreload = TIM_AUTORELOAD_PRELOAD_DISABLE;
  if (HAL_TIM_Base_Init(&htim8) != HAL_OK)
  {
    Error_Handler();
  }
  sClockSourceConfig.ClockSource = TIM_CLOCKSOURCE_INTERNAL;
  if (HAL_TIM_ConfigClockSource(&htim8, &sClockSourceConfig) != HAL_OK)
  {
    Error_Handler();
  }
  if (HAL_TIM_OC_Init(&htim8) != HAL_OK)
  {
    Error_Handler();
  }
  sMasterConfig.MasterOutputTrigger = TIM_TRGO_UPDATE;
  sMasterConfig.MasterSlaveMode = TIM_MASTERSLAVEMODE_DISABLE;
  if (HAL_TIMEx_MasterConfigSynchronization(&htim8, &sMasterConfig) != HAL_OK)
  {
    Error_Handler();
  }
  sConfigOC.OCMode = TIM_OCMODE_TIMING;
  sConfigOC.Pulse = 2000;
  sConfigOC.OCPolarity = TIM_OCPOLARITY_HIGH;
  sConfigOC.OCFastMode = TIM_OCFAST_DISABLE;
  sConfigOC.OCIdleState = TIM_OCIDLESTATE_RESET;
  sConfigOC.OCNIdleState = TIM_OCNIDLESTATE_RESET;
  if (HAL_TIM_OC_ConfigChannel(&htim8, &sConfigOC, TIM_CHANNEL_4) != HAL_OK)
  {
    Error_Handler();
  }
  sBreakDeadTimeConfig.OffStateRunMode = TIM_OSSR_DISABLE;
  sBreakDeadTimeConfig.OffStateIDLEMode = TIM_OSSI_DISABLE;
  sBreakDeadTimeConfig.LockLevel = TIM_LOCKLEVEL_OFF;
  sBreakDeadTimeConfig.DeadTime = 0;
  sBreakDeadTimeConfig.BreakState = TIM_BREAK_DISABLE;
  sBreakDeadTimeConfig.BreakPolarity = TIM_BREAKPOLARITY_HIGH;
  sBreakDeadTimeConfig.AutomaticOutput = TIM_AUTOMATICOUTPUT_DISABLE;
  if (HAL_TIMEx_ConfigBreakDeadTime(&htim8, &sBreakDeadTimeConfig) != HAL_OK)
  {
    Error_Handler();
  }
  /* USER CODE BEGIN TIM8_Init 2 */
  HAL_TIM_Base_Start_IT(&htim8);
  /* USER CODE END TIM8_Init 2 */

}

static void MX_TIM12_Init(void)
{

  TIM_ClockConfigTypeDef sClockSourceConfig = {0};

  htim12.Instance = TIM12;
  htim12.Init.Prescaler = 42-1;
  htim12.Init.CounterMode = TIM_COUNTERMODE_UP;
  htim12.Init.Period = 65535;
  htim12.Init.ClockDivision = TIM_CLOCKDIVISION_DIV1;
  htim12.Init.AutoReloadPreload = TIM_AUTORELOAD_PRELOAD_DISABLE;
  if (HAL_TIM_Base_Init(&htim12) != HAL_OK)
  {
    Error_Handler();
  }
  sClockSourceConfig.ClockSource = TIM_CLOCKSOURCE_INTERNAL;
  if (HAL_TIM_ConfigClockSource(&htim12, &sClockSourceConfig) != HAL_OK)
  {
    Error_Handler();
  }

}

static void MX_TIM13_Init(void)
{

  TIM_OC_InitTypeDef sConfigOC = {0};

  htim13.Instance = TIM13;
  htim13.Init.Prescaler = 84;
  htim13.Init.CounterMode = TIM_COUNTERMODE_UP;
  htim13.Init.Period = 100;
  htim13.Init.ClockDivision = TIM_CLOCKDIVISION_DIV1;
  htim13.Init.AutoReloadPreload = TIM_AUTORELOAD_PRELOAD_DISABLE;
  if (HAL_TIM_Base_Init(&htim13) != HAL_OK)
  {
    Error_Handler();
  }
  if (HAL_TIM_PWM_Init(&htim13) != HAL_OK)
  {
    Error_Handler();
  }
  sConfigOC.OCMode = TIM_OCMODE_PWM1;
  sConfigOC.Pulse = 50;
  sConfigOC.OCPolarity = TIM_OCPOLARITY_HIGH;
  sConfigOC.OCFastMode = TIM_OCFAST_DISABLE;
  if (HAL_TIM_PWM_ConfigChannel(&htim13, &sConfigOC, TIM_CHANNEL_1) != HAL_OK)
  {
    Error_Handler();
  }
  /* USER CODE BEGIN TIM13_Init 2 */
  HAL_TIM_MspPostInit(&htim13);
  /* USER CODE END TIM13_Init 2 */
  HAL_TIM_MspPostInit(&htim13);

}

static void MX_TIM14_Init(void)
{

  htim14.Instance = TIM14;
  htim14.Init.Prescaler = 840-1;
  htim14.Init.CounterMode = TIM_COUNTERMODE_UP;
  htim14.Init.Period = 10000-1;
  htim14.Init.ClockDivision = TIM_CLOCKDIVISION_DIV1;
  htim14.Init.AutoReloadPreload = TIM_AUTORELOAD_PRELOAD_DISABLE;
  if (HAL_TIM_Base_Init(&htim14) != HAL_OK)
  {
    Error_Handler();
  }
  /* USER CODE BEGIN TIM14_Init 2 */
  TIM14->DIER |= (1<<0);   // CC1IE: Enable the Tim14 UG interrupt
   NVIC->ISER[1] |= (1<<(45-32)); // TIM14_CC

   TIM14->CR1	|= (1<<0);	// CEN: Counter TIM14 enable

  /* USER CODE END TIM14_Init 2 */

}

static void MX_UART4_Init(void)
{

  huart4.Instance = UART4;
  huart4.Init.BaudRate = 115200;
  huart4.Init.WordLength = UART_WORDLENGTH_8B;
  huart4.Init.StopBits = UART_STOPBITS_1;
  huart4.Init.Parity = UART_PARITY_EVEN;
  huart4.Init.Mode = UART_MODE_TX_RX;
  huart4.Init.HwFlowCtl = UART_HWCONTROL_NONE;
  huart4.Init.OverSampling = UART_OVERSAMPLING_16;
  if (HAL_UART_Init(&huart4) != HAL_OK)
  {
    Error_Handler();
  }

}

static void MX_USART3_UART_Init(void)
{

  huart3.Instance = USART3;
  huart3.Init.BaudRate = 115200;
  huart3.Init.WordLength = UART_WORDLENGTH_8B;
  huart3.Init.StopBits = UART_STOPBITS_1;
  huart3.Init.Parity = UART_PARITY_NONE;
  huart3.Init.Mode = UART_MODE_TX_RX;
  huart3.Init.HwFlowCtl = UART_HWCONTROL_NONE;
  huart3.Init.OverSampling = UART_OVERSAMPLING_16;
  if (HAL_UART_Init(&huart3) != HAL_OK)
  {
    Error_Handler();
  }

}

static void MX_USB_OTG_FS_PCD_Init(void)
{

  hpcd_USB_OTG_FS.Instance = USB_OTG_FS;
  hpcd_USB_OTG_FS.Init.dev_endpoints = 4;
  hpcd_USB_OTG_FS.Init.speed = PCD_SPEED_FULL;
  hpcd_USB_OTG_FS.Init.dma_enable = DISABLE;
  hpcd_USB_OTG_FS.Init.phy_itface = PCD_PHY_EMBEDDED;
  hpcd_USB_OTG_FS.Init.Sof_enable = ENABLE;
  hpcd_USB_OTG_FS.Init.low_power_enable = DISABLE;
  hpcd_USB_OTG_FS.Init.lpm_enable = DISABLE;
  hpcd_USB_OTG_FS.Init.vbus_sensing_enable = ENABLE;
  hpcd_USB_OTG_FS.Init.use_dedicated_ep1 = DISABLE;
  if (HAL_PCD_Init(&hpcd_USB_OTG_FS) != HAL_OK)
  {
    Error_Handler();
  }

}

static void MX_DMA_Init(void)
{

  /* DMA controller clock enable */
  __HAL_RCC_DMA1_CLK_ENABLE();
  __HAL_RCC_DMA2_CLK_ENABLE();

  /* DMA interrupt init */
  /* DMA1_Stream6_IRQn interrupt configuration */
  HAL_NVIC_SetPriority(DMA1_Stream6_IRQn, 0, 0);
  HAL_NVIC_EnableIRQ(DMA1_Stream6_IRQn);
  /* DMA2_Stream1_IRQn interrupt configuration */
  HAL_NVIC_SetPriority(DMA2_Stream1_IRQn, 0, 0);
  HAL_NVIC_EnableIRQ(DMA2_Stream1_IRQn);

}

static void MX_GPIO_Init(void)
{
  GPIO_InitTypeDef GPIO_InitStruct = {0};

  /* GPIO Ports Clock Enable */
  __HAL_RCC_GPIOC_CLK_ENABLE();
  __HAL_RCC_GPIOF_CLK_ENABLE();
  __HAL_RCC_GPIOH_CLK_ENABLE();
  __HAL_RCC_GPIOA_CLK_ENABLE();
  __HAL_RCC_GPIOB_CLK_ENABLE();
  __HAL_RCC_GPIOG_CLK_ENABLE();
  __HAL_RCC_GPIOD_CLK_ENABLE();
  __HAL_RCC_GPIOE_CLK_ENABLE();

  /*Configure GPIO pin Output Level */
  HAL_GPIO_WritePin(GPIOB, GPIO_PIN_0|LD3_Pin|GPIO_PIN_7, GPIO_PIN_RESET);

  /*Configure GPIO pin Output Level */
  HAL_GPIO_WritePin(GPIOF, GPIO_PIN_13|GPIO_PIN_14|GPIO_PIN_15, GPIO_PIN_RESET);

  /*Configure GPIO pin Output Level */
  HAL_GPIO_WritePin(GPIOG, GPIO_PIN_0|GPIO_PIN_1, GPIO_PIN_RESET);

  /*Configure GPIO pin Output Level */
  HAL_GPIO_WritePin(GPIOD, GPIO_PIN_7, GPIO_PIN_RESET);

  /*Configure GPIO pin Output Level */
  HAL_GPIO_WritePin(GPIOE, GPIO_PIN_0, GPIO_PIN_RESET);

  /*Configure GPIO pin : USER_Btn_Pin */
  GPIO_InitStruct.Pin = USER_Btn_Pin;
  GPIO_InitStruct.Mode = GPIO_MODE_IT_RISING;
  GPIO_InitStruct.Pull = GPIO_NOPULL;
  HAL_GPIO_Init(USER_Btn_GPIO_Port, &GPIO_InitStruct);

  /*Configure GPIO pins : PB0 LD3_Pin PB7 */
  GPIO_InitStruct.Pin = GPIO_PIN_0|LD3_Pin|GPIO_PIN_7;
  GPIO_InitStruct.Mode = GPIO_MODE_OUTPUT_PP;
  GPIO_InitStruct.Pull = GPIO_NOPULL;
  GPIO_InitStruct.Speed = GPIO_SPEED_FREQ_LOW;
  HAL_GPIO_Init(GPIOB, &GPIO_InitStruct);

  /*Configure GPIO pins : PF13 PF14 PF15 */
  GPIO_InitStruct.Pin = GPIO_PIN_13|GPIO_PIN_14|GPIO_PIN_15;
  GPIO_InitStruct.Mode = GPIO_MODE_OUTPUT_PP;
  GPIO_InitStruct.Pull = GPIO_NOPULL;
  GPIO_InitStruct.Speed = GPIO_SPEED_FREQ_LOW;
  HAL_GPIO_Init(GPIOF, &GPIO_InitStruct);

  /*Configure GPIO pins : PG0 PG1 */
  GPIO_InitStruct.Pin = GPIO_PIN_0|GPIO_PIN_1;
  GPIO_InitStruct.Mode = GPIO_MODE_OUTPUT_PP;
  GPIO_InitStruct.Pull = GPIO_NOPULL;
  GPIO_InitStruct.Speed = GPIO_SPEED_FREQ_LOW;
  HAL_GPIO_Init(GPIOG, &GPIO_InitStruct);

  /*Configure GPIO pin : PB10 */
  GPIO_InitStruct.Pin = GPIO_PIN_10;
  GPIO_InitStruct.Mode = GPIO_MODE_INPUT;
  GPIO_InitStruct.Pull = GPIO_NOPULL;
  HAL_GPIO_Init(GPIOB, &GPIO_InitStruct);

  /*Configure GPIO pin : USB_OverCurrent_Pin */
  GPIO_InitStruct.Pin = USB_OverCurrent_Pin;
  GPIO_InitStruct.Mode = GPIO_MODE_INPUT;
  GPIO_InitStruct.Pull = GPIO_NOPULL;
  HAL_GPIO_Init(USB_OverCurrent_GPIO_Port, &GPIO_InitStruct);

  /*Configure GPIO pin : PD6 */
  GPIO_InitStruct.Pin = GPIO_PIN_6;
  GPIO_InitStruct.Mode = GPIO_MODE_INPUT;
  GPIO_InitStruct.Pull = GPIO_NOPULL;
  HAL_GPIO_Init(GPIOD, &GPIO_InitStruct);

  /*Configure GPIO pin : PD7 */
  GPIO_InitStruct.Pin = GPIO_PIN_7;
  GPIO_InitStruct.Mode = GPIO_MODE_OUTPUT_PP;
  GPIO_InitStruct.Pull = GPIO_NOPULL;
  GPIO_InitStruct.Speed = GPIO_SPEED_FREQ_LOW;
  HAL_GPIO_Init(GPIOD, &GPIO_InitStruct);

  /*Configure GPIO pin : PE0 */
  GPIO_InitStruct.Pin = GPIO_PIN_0;
  GPIO_InitStruct.Mode = GPIO_MODE_OUTPUT_PP;
  GPIO_InitStruct.Pull = GPIO_NOPULL;
  GPIO_InitStruct.Speed = GPIO_SPEED_FREQ_LOW;
  HAL_GPIO_Init(GPIOE, &GPIO_InitStruct);

}

void Error_Handler(void)
{
  __disable_irq();
  while (1)
  {
  }
}
